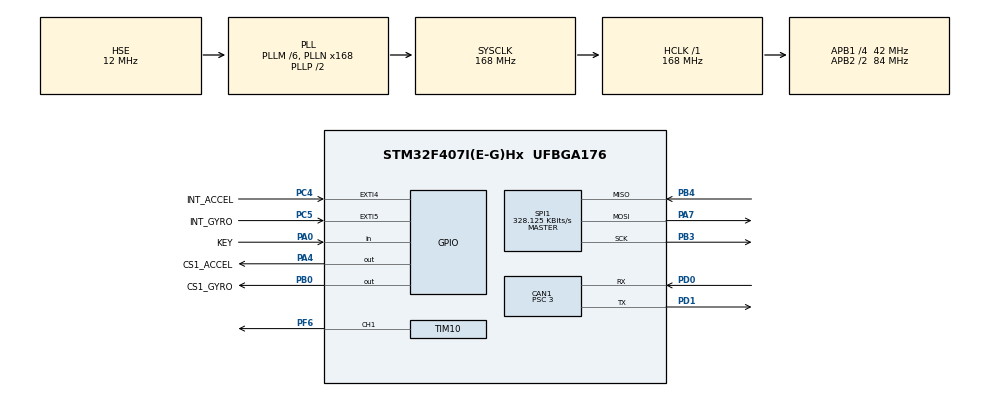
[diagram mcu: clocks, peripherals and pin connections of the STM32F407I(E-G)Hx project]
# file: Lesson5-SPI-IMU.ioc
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CAN1.ABOM=ENABLE
CAN1.BS1=CAN_BS1_9TQ
CAN1.BS2=CAN_BS2_4TQ
CAN1.CalculateBaudRate=1000000
CAN1.CalculateTimeBit=1000
CAN1.CalculateTimeQuantum=71.42857142857143
CAN1.NART=ENABLE
CAN1.Prescaler=3
Mcu.Family=STM32F4
Mcu.Name=STM32F407I(E-G)Hx
Mcu.Package=UFBGA176
NVIC.CAN1_RX0_IRQn=true\:5\:0\:true\:false\:true\:true\:true\:true
NVIC.EXTI4_IRQn=true\:0\:0\:false\:false\:true\:true\:true\:true
NVIC.EXTI9_5_IRQn=true\:0\:0\:false\:false\:true\:true\:true\:true
NVIC.PriorityGroup=NVIC_PRIORITYGROUP_4
NVIC.TIM6_DAC_IRQn=true\:6\:0\:true\:false\:true\:true\:true\:true
PA0-WKUP.GPIO_Label=KEY
PA0-WKUP.GPIO_PuPd=GPIO_PULLUP
PA0-WKUP.Signal=GPIO_Input
PA13.Mode=Serial_Wire
PA13.Signal=SYS_JTMS-SWDIO
PA14.Mode=Serial_Wire
PA14.Signal=SYS_JTCK-SWCLK
PA4.GPIO_Label=CS1_ACCEL
PA4.GPIO_PuPd=GPIO_PULLUP
PA4.GPIO_Speed=GPIO_SPEED_FREQ_HIGH
PA4.PinState=GPIO_PIN_SET
PA4.Signal=GPIO_Output
PA7.Mode=Full_Duplex_Master
PA7.Signal=SPI1_MOSI
PB0.GPIO_Label=CS1_GYRO
PB0.GPIO_PuPd=GPIO_PULLUP
PB0.GPIO_Speed=GPIO_SPEED_FREQ_HIGH
PB0.PinState=GPIO_PIN_SET
PB0.Signal=GPIO_Output
PB3.Mode=Full_Duplex_Master
PB3.Signal=SPI1_SCK
PB4.Mode=Full_Duplex_Master
PB4.Signal=SPI1_MISO
PC4.GPIO_Label=INT_ACCEL
PC4.Signal=GPXTI4
PC5.GPIO_Label=INT_GYRO
PC5.Signal=GPXTI5
PD0.Mode=CAN_Activate
PD0.Signal=CAN1_RX
PD1.Mode=CAN_Activate
PD1.Signal=CAN1_TX
PF6.Signal=S_TIM10_CH1
PH0-OSC_IN.Mode=HSE-External-Oscillator
PH0-OSC_IN.Signal=RCC_OSC_IN
PH1-OSC_OUT.Mode=HSE-External-Oscillator
PH1-OSC_OUT.Signal=RCC_OSC_OUT
ProjectManager.HeapSize=0x200
ProjectManager.StackSize=0x400
ProjectManager.TargetToolchain=MDK-ARM V5.32
RCC.48MHZClocksFreq_Value=84000000
RCC.AHBFreq_Value=168000000
RCC.APB1CLKDivider=RCC_HCLK_DIV4
RCC.APB1Freq_Value=42000000
RCC.APB1TimFreq_Value=84000000
RCC.APB2CLKDivider=RCC_HCLK_DIV2
RCC.APB2Freq_Value=84000000
RCC.APB2TimFreq_Value=168000000
RCC.CortexFreq_Value=168000000
RCC.HCLKFreq_Value=168000000
RCC.HSE_VALUE=12000000
RCC.HSI_VALUE=16000000
RCC.LSE_VALUE=32768
RCC.PLLM=6
RCC.PLLN=168
RCC.PLLSourceVirtual=RCC_PLLSOURCE_HSE
RCC.SYSCLKFreq_VALUE=168000000
RCC.SYSCLKSource=RCC_SYSCLKSOURCE_PLLCLK
RCC.VCOOutputFreq_Value=336000000
SH.S_TIM10_CH1.0=TIM10_CH1,PWM Generation1 CH1
SPI1.BaudRatePrescaler=SPI_BAUDRATEPRESCALER_256
SPI1.CLKPhase=SPI_PHASE_2EDGE
SPI1.CLKPolarity=SPI_POLARITY_HIGH
SPI1.CalculateBaudRate=328.125 KBits/s
SPI1.Direction=SPI_DIRECTION_2LINES
SPI1.Mode=SPI_MODE_MASTER
SPI1.VirtualType=VM_MASTER
TIM10.Channel=TIM_CHANNEL_1
TIM10.Period=999
TIM10.Prescaler=83
TIM6.AutoReloadPreload=TIM_AUTORELOAD_PRELOAD_ENABLE
TIM6.Period=999
TIM6.Prescaler=83
VP_TIM10_VS_ClockSourceINT.Mode=Enable_Timer
VP_TIM6_VS_ClockSourceINT.Mode=Enable_Timer
board=custom

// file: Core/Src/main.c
/* USER CODE BEGIN Header */
/**
  ******************************************************************************
  * @file           : main.c
  * @brief          : Main program body
  ******************************************************************************
  * @attention
  *
  * Copyright (c) 2026 STMicroelectronics.
  * All rights reserved.
  *
  * This software is licensed under terms that can be found in the LICENSE file
  * in the root directory of this software component.
  * If no LICENSE file comes with this software, it is provided AS-IS.
  *
  ******************************************************************************
  */
/* USER CODE END Header */
#include "main.h"
#include "can.h"
#include "spi.h"
#include "tim.h"
#include "gpio.h"
#include "bmi088.h"

/* USER CODE BEGIN Includes */
#include "can_user.h"

/* USER CODE END Includes */

/* USER CODE BEGIN PD */
#define TARGET_ANGLE   90.0f   /* 目标角度(度)，改成你想让它保持的角度 */
/* USER CODE END PD */

/* USER CODE BEGIN PV */
extern void motor_set_position(float angle, float ff);   /* 目标角度(度), 前馈强度 */
extern void motor_stop(void);
extern int  motor_has_feedback(void);
extern volatile uint8_t stop_flag;                        /* 1 = 电机输出立刻变 0 */
extern unsigned char imu_init(void);                      /* BMI088 初始化+零偏校准，返回 1 成功 */
/* USER CODE END PV */

void SystemClock_Config(void);

int main(void)
{

  /* MCU Configuration--------------------------------------------------------*/

  /* Reset of all peripherals, Initializes the Flash interface and the Systick. */
  HAL_Init();

  /* Configure the system clock */
  SystemClock_Config();

  /* Initialize all configured peripherals */
  MX_GPIO_Init();
  MX_CAN1_Init();
  MX_TIM6_Init();
  MX_SPI1_Init();
  MX_TIM10_Init();
  /* USER CODE BEGIN 2 */
    if (HAL_CAN_ConfigFilter(&hcan1, &can_filter_config) != HAL_OK ||
        HAL_CAN_Start(&hcan1) != HAL_OK ||
        HAL_CAN_ActivateNotification(&hcan1, CAN_IT_RX_FIFO0_MSG_PENDING) != HAL_OK) {
        Error_Handler();
    }

    /* BMI088 初始化 + 静止零偏校准（约 1s，期间别动板子） */
    imu_init();

    /* 上电即保持目标角度（位置双环 + 重力前馈在 Motor::handle() 里做） */
    motor_set_position(TARGET_ANGLE, 0.0f);

    /* 最后再启动 1kHz 控制/解算定时器 */
    if (HAL_TIM_Base_Start_IT(&htim6) != HAL_OK) {
        Error_Handler();
    }
  /* USER CODE END 2 */

  /* Infinite loop */
  /* USER CODE BEGIN WHILE */
  uint8_t last_key = 0;
  while (1)
  {
      /* PA0 上拉、按下为低；下降沿 = 按下 → 切换急停 stop_flag */
      uint8_t key = HAL_GPIO_ReadPin(KEY_GPIO_Port, KEY_Pin);
      if (key == GPIO_PIN_RESET && last_key == GPIO_PIN_SET) {
          HAL_Delay(20);
          if (HAL_GPIO_ReadPin(KEY_GPIO_Port, KEY_Pin) == GPIO_PIN_RESET) {
              stop_flag = !stop_flag;   /* 1 → 输出立刻变 0 */
          }
      }
      last_key = key;
      HAL_Delay(5);

    /* USER CODE END WHILE */

  }
}

void SystemClock_Config(void)
{
  RCC_OscInitTypeDef RCC_OscInitStruct = {0};
  RCC_ClkInitTypeDef RCC_ClkInitStruct = {0};

  /** Configure the main internal regulator output voltage
  */
  __HAL_RCC_PWR_CLK_ENABLE();
  __HAL_PWR_VOLTAGESCALING_CONFIG(PWR_REGULATOR_VOLTAGE_SCALE1);

  /** Initializes the RCC Oscillators according to the specified parameters
  * in the RCC_OscInitTypeDef structure.
  */
  RCC_OscInitStruct.OscillatorType = RCC_OSCILLATORTYPE_HSE;
  RCC_OscInitStruct.HSEState = RCC_HSE_ON;
  RCC_OscInitStruct.PLL.PLLState = RCC_PLL_ON;
  RCC_OscInitStruct.PLL.PLLSource = RCC_PLLSOURCE_HSE;
  RCC_OscInitStruct.PLL.PLLM = 6;
  RCC_OscInitStruct.PLL.PLLN = 168;
  RCC_OscInitStruct.PLL.PLLP = RCC_PLLP_DIV2;
  RCC_OscInitStruct.PLL.PLLQ = 4;
  if (HAL_RCC_OscConfig(&RCC_OscInitStruct) != HAL_OK)
  {
    Error_Handler();
  }

  /** Initializes the CPU, AHB and APB buses clocks
  */
  RCC_ClkInitStruct.ClockType = RCC_CLOCKTYPE_HCLK|RCC_CLOCKTYPE_SYSCLK
                              |RCC_CLOCKTYPE_PCLK1|RCC_CLOCKTYPE_PCLK2;
  RCC_ClkInitStruct.SYSCLKSource = RCC_SYSCLKSOURCE_PLLCLK;
  RCC_ClkInitStruct.AHBCLKDivider = RCC_SYSCLK_DIV1;
  RCC_ClkInitStruct.APB1CLKDivider = RCC_HCLK_DIV4;
  RCC_ClkInitStruct.APB2CLKDivider = RCC_HCLK_DIV2;

  if (HAL_RCC_ClockConfig(&RCC_ClkInitStruct, FLASH_LATENCY_5) != HAL_OK)
  {
    Error_Handler();
  }
}

void Error_Handler(void)
{
  __disable_irq();
  while (1)
  {
  }
}
